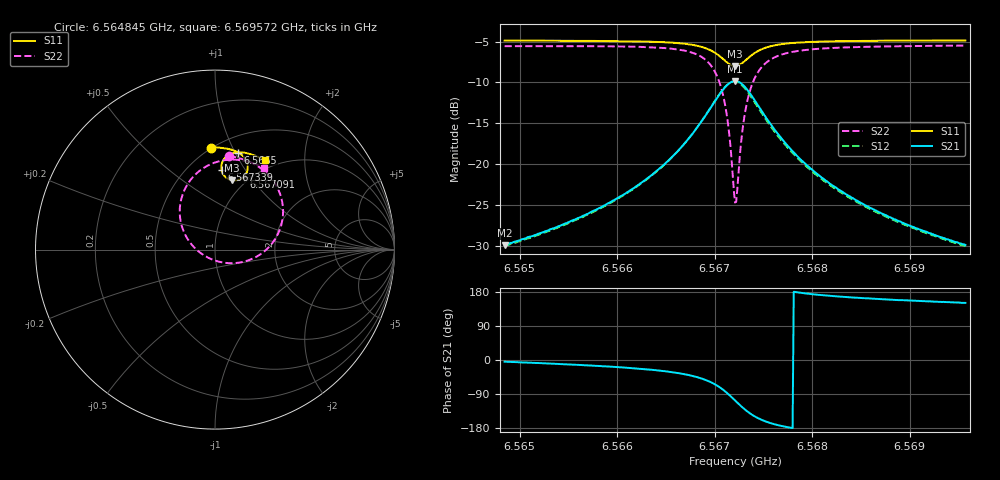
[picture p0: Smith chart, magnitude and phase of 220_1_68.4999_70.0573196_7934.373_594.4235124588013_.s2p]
#  HZ  S  RI  R  50.00
! Rohde & Schwarz Vector Network Analyzer
! Rohde-Schwarz,ZNB20-2Port,1311601062101988,3.16
! Created: UTC 3/20/2024, 5:13:36 PM
! freq[Hz]  re:S11  im:S11  re:S21  im:S21  re:S12  im:S12  re:S22  im:S22
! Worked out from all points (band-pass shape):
!   401 points, 6.564845 GHz to 6.569572 GHz, reference 50 ohm
!   highest |S21| = -9.83 dB at 6.567209 GHz (marker M1); lowest = -29.9 dB at 6.564845 GHz (marker M2)
!   |S21| within 3 dB of the highest: 6.566974 GHz to 6.567446 GHz (472.2 kHz wide, 0.00719 % of centre)
!   lowest |S11| = -8.0 dB at 6.567209 GHz (marker M3), VSWR 2.32, Z = 43.3 + j39.7 ohm
!   |S11| at or under -10 dB: nowhere
!   |S22| runs from -24.7 to -5.5 dB; largest |S21 - S12| = 0.016
!   S11 on the Smith chart (normalised r, x): 6.564845 GHz: 0.49, +0.83; 6.5665 GHz: 0.66, +1.03; 6.567091 GHz: 0.93, +0.94; 6.567339 GHz: 0.72, +0.79; 6.569572 GHz: 0.88, +1.30
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6.5648453e9  -0.0248 0.5685  0.032 -0.0024  0.0316 -0.00308  0.078 0.521
6.5656371e9  0.0422 0.5661  0.0468 -0.0111  0.046 -0.0117  0.1589 0.5021
6.5660743e9  0.083 0.5587  0.0619 -0.0224  0.061 -0.0232  0.2164 0.4772
6.5664288e9  0.1212 0.5452  0.0828 -0.0437  0.0816 -0.0447  0.2789 0.4337
6.5664997e9  0.1297 0.5408  0.0885 -0.0508  0.0871 -0.052  0.2939 0.4193
6.566736e9  0.1604 0.5166  0.1108 -0.0923  0.1089 -0.0943  0.351 0.3382
6.5669133e9  0.1807 0.4773  0.1205 -0.1614  0.1171 -0.1649  0.3793 0.2057
6.5670197e9  0.1793 0.4375  0.0996 -0.2309  0.0929 -0.2356  0.3432 0.0728
6.5670906e9  0.1614 0.4069  0.0539 -0.2831  0.0428 -0.2865  0.2571 -0.0234
6.5671378e9  0.1382 0.3908  0.00317 -0.3086  -0.0106 -0.3091  0.1622 -0.0671
6.5671969e9  0.1 0.385  -0.076 -0.3129  -0.0911 -0.3072  0.0185 -0.0665
6.5672087e9  0.0921 0.3863  -0.0921 -0.3092  -0.1068 -0.302  -0.00994 -0.0576
6.5672324e9  0.0767 0.3916  -0.1229 -0.2968  -0.1362 -0.2872  -0.0628 -0.0313
6.5672914e9  0.0478 0.4166  -0.1814 -0.245  -0.1896 -0.2315  -0.1583 0.0684
6.5673387e9  0.0368 0.4419  -0.2053 -0.1953  -0.209 -0.1814  -0.1918 0.1591
6.5674333e9  0.0401 0.4859  -0.2071 -0.1104  -0.2051 -0.0997  -0.1803 0.3074
6.5675751e9  0.0676 0.5222  -0.1709 -0.0403  -0.167 -0.0344  -0.1025 0.425
6.5677405e9  0.0998 0.5378  -0.1313 -0.00702  -0.1278 -0.004  -0.0205 0.4775
6.5680005e9  0.1386 0.5423  -0.092 0.0101  -0.0897 0.0115  0.0662 0.4997
6.5683432e9  0.1775 0.5373  -0.064 0.0156  -0.0625 0.0163  0.1376 0.4991
6.5687922e9  0.2184 0.5252  -0.0446 0.0165  -0.0436 0.017  0.1997 0.4859
6.5695721e9  0.2786 0.498  -0.028 0.0158  -0.0274 0.0158  0.2754 0.4544
